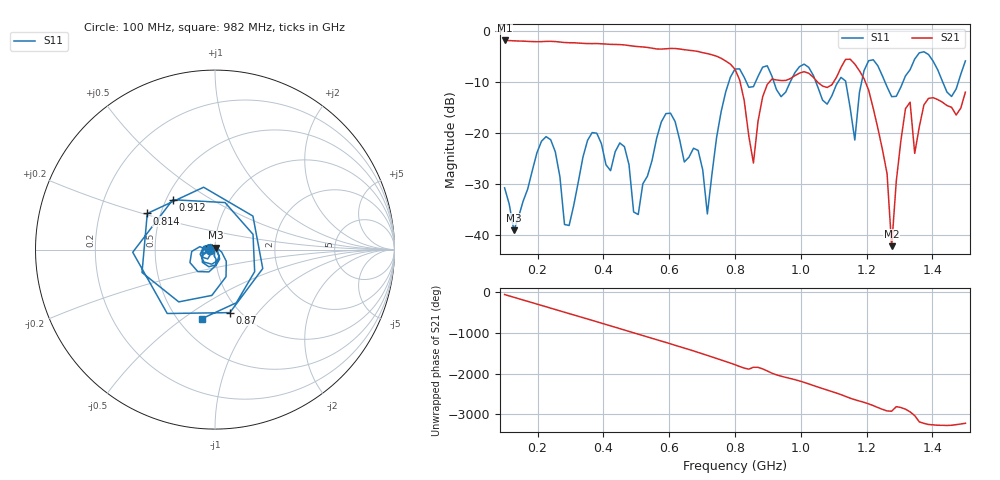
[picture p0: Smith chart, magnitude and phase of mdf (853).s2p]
! NanoVNA-App
! Date: 2025-09-25 15:45:03
! Start: 100MHz Stop: 1,5GHz Points: 101
! S-Parameter data: F S11 S21 S12 S22
# Hz S RI R 50
!  Frequency  S11_Real  S11_Imag  S21_Real  S21_Imag  S12_Real  S12_Imag  S22_Real  S22_Imag
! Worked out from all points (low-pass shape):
!   101 points, 100 MHz to 1.5 GHz, reference 50 ohm
!   highest |S21| = -1.80 dB at 100 MHz (marker M1); lowest = -42.2 dB at 1.276 GHz (marker M2)
!   |S21| within 3 dB of the highest: start of sweep to 739.4 MHz
!   lowest |S11| = -39.0 dB at 128 MHz (marker M3), VSWR 1.02, Z = 50.3 + j1.07 ohm
!   |S11| at or under -10 dB: start of sweep to 781.1 MHz; 1.046 GHz to 1.113 GHz (66.72 MHz wide, 6.18 % of centre); 1.256 GHz to 1.31 GHz (53.92 MHz wide, 4.2 % of centre)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
!   S12 and S22 are empty: the file has one direction only
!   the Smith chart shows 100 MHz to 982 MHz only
!   S11 on the Smith chart (normalised r, x): 100 MHz: 0.94, -0.01; 814 MHz: 0.42, +0.21; 870 MHz: 0.90, -0.73; 912 MHz: 0.54, +0.35; 982 MHz: 0.65, -0.59
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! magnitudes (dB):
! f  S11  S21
! 100 MHz  -30.7  -1.8
! 128 MHz  -39.0  -1.9
! 212 MHz  -21.6  -2.0
! 282 MHz  -37.9  -2.2
! 338 MHz  -24.7  -2.4
! 464 MHz  -22.6  -2.7
! 506 MHz  -36.0  -3.0
! 576 MHz  -17.8  -3.5
! 716 MHz  -35.8  -4.4
! 800 MHz  -7.4  -7.5
! 814 MHz  -7.4  -9.5
! 856 MHz  -10.9  -25.9
! 870 MHz  -8.9  -17.6
! 912 MHz  -8.8  -9.4
! 982 MHz  -8.1  -8.7
! 1.038 GHz  -8.7  -9.0
! 1.164 GHz  -21.3  -6.4
! 1.192 GHz  -7.7  -9.3
! 1.276 GHz  -12.8  -42.2
! 1.318 GHz  -8.8  -15.2
! 1.346 GHz  -5.5  -24.0
! 1.5 GHz  -5.8  -11.9
